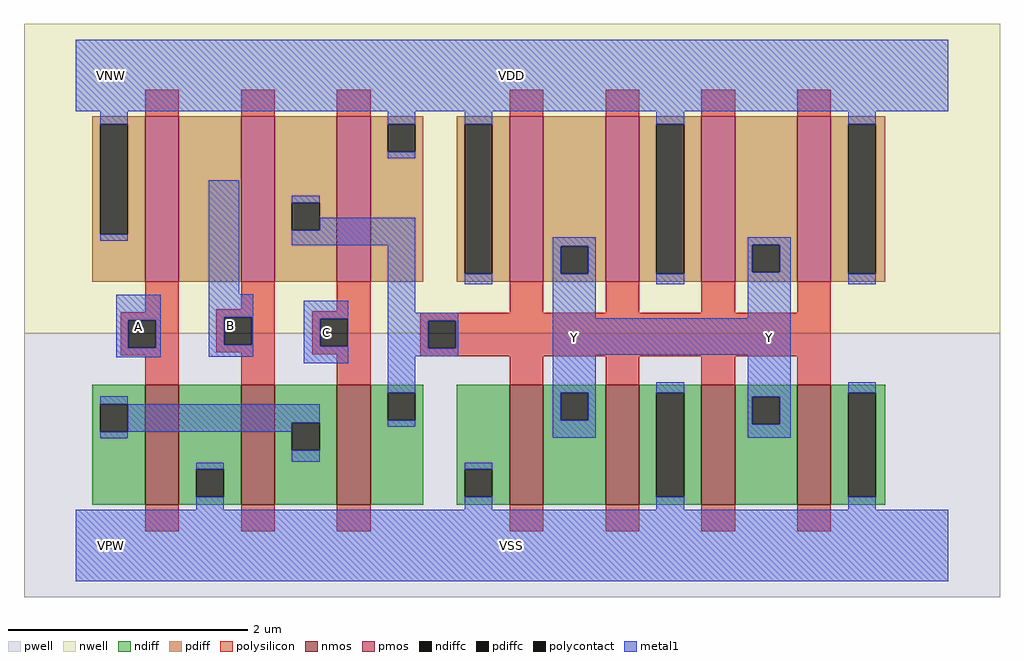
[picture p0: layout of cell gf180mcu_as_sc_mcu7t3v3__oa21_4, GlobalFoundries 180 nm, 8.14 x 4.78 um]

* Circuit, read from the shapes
.subckt gf180mcu_as_sc_mcu7t3v3__oa21_4 VDD VNW VPW VSS A B C Y
XM1 VSS A n1 VPW nfet_03v3 w=1u l=0.28u
XM2 n1 B VSS VPW nfet_03v3 w=1u l=0.28u
XM3 n2 C n1 VPW nfet_03v3 w=1u l=0.28u
XM4 Y n2 VSS VPW nfet_03v3 w=1u l=0.28u m=4
XM5 n3 A VDD VNW pfet_03v3 w=1.38u l=0.28u
XM6 n2 B n3 VNW pfet_03v3 w=1.38u l=0.28u
XM7 VDD C n2 VNW pfet_03v3 w=1.38u l=0.28u
XM8 Y n2 VDD VNW pfet_03v3 w=1.38u l=0.28u m=4
.ends

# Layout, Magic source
magic
tech gf180mcuD
magscale 1 10
<< nwell >>
rect -86 354 1542 870
<< pwell >>
rect -86 -86 1542 354
<< nmos >>
rect 116 68 172 268
rect 276 68 332 268
rect 436 68 492 268
rect 724 68 780 268
rect 884 68 940 268
rect 1044 68 1100 268
rect 1204 68 1260 268
<< pmos >>
rect 116 440 172 716
rect 276 440 332 716
rect 436 440 492 716
rect 724 440 780 716
rect 884 440 940 716
rect 1044 440 1100 716
rect 1204 440 1260 716
<< ndiff >>
rect 28 236 116 268
rect 28 190 41 236
rect 87 190 116 236
rect 28 68 116 190
rect 172 127 276 268
rect 172 81 201 127
rect 247 81 276 127
rect 172 68 276 81
rect 332 205 436 268
rect 332 159 361 205
rect 407 159 436 205
rect 332 68 436 159
rect 492 255 580 268
rect 492 209 521 255
rect 567 209 580 255
rect 492 68 580 209
rect 636 127 724 268
rect 636 81 649 127
rect 695 81 724 127
rect 636 68 724 81
rect 780 255 884 268
rect 780 209 809 255
rect 855 209 884 255
rect 780 68 884 209
rect 940 255 1044 268
rect 940 81 969 255
rect 1015 81 1044 255
rect 940 68 1044 81
rect 1100 248 1204 268
rect 1100 202 1129 248
rect 1175 202 1204 248
rect 1100 68 1204 202
rect 1260 255 1351 268
rect 1260 81 1289 255
rect 1335 81 1351 255
rect 1260 68 1351 81
<< pdiff >>
rect 28 703 116 716
rect 28 519 41 703
rect 87 519 116 703
rect 28 440 116 519
rect 172 440 276 716
rect 332 572 436 716
rect 332 526 361 572
rect 407 526 436 572
rect 332 440 436 526
rect 492 703 580 716
rect 492 657 521 703
rect 567 657 580 703
rect 492 440 580 657
rect 636 703 724 716
rect 636 453 649 703
rect 695 453 724 703
rect 636 440 724 453
rect 780 499 884 716
rect 780 453 809 499
rect 855 453 884 499
rect 780 440 884 453
rect 940 703 1044 716
rect 940 453 969 703
rect 1015 453 1044 703
rect 940 440 1044 453
rect 1100 502 1204 716
rect 1100 456 1129 502
rect 1175 456 1204 502
rect 1100 440 1204 456
rect 1260 703 1351 716
rect 1260 453 1289 703
rect 1335 453 1351 703
rect 1260 440 1351 453
<< ndiffc >>
rect 41 190 87 236
rect 201 81 247 127
rect 361 159 407 205
rect 521 209 567 255
rect 649 81 695 127
rect 809 209 855 255
rect 969 81 1015 255
rect 1129 202 1175 248
rect 1289 81 1335 255
<< pdiffc >>
rect 41 519 87 703
rect 361 526 407 572
rect 521 657 567 703
rect 649 453 695 703
rect 809 453 855 499
rect 969 453 1015 703
rect 1129 456 1175 502
rect 1289 453 1335 703
<< polysilicon >>
rect 116 716 172 760
rect 276 716 332 760
rect 436 716 492 760
rect 724 716 780 760
rect 884 716 940 760
rect 1044 716 1100 760
rect 1204 716 1260 760
rect 116 389 172 440
rect 276 394 332 440
rect 75 376 172 389
rect 75 330 88 376
rect 134 330 172 376
rect 75 317 172 330
rect 235 381 332 394
rect 436 391 492 440
rect 235 335 248 381
rect 294 335 332 381
rect 235 322 332 335
rect 116 268 172 317
rect 276 268 332 322
rect 395 378 492 391
rect 724 388 780 440
rect 884 388 940 440
rect 1044 388 1100 440
rect 1204 388 1260 440
rect 395 332 408 378
rect 454 332 492 378
rect 395 319 492 332
rect 436 268 492 319
rect 575 375 1260 388
rect 575 329 588 375
rect 634 329 1260 375
rect 575 316 1260 329
rect 724 268 780 316
rect 884 268 940 316
rect 1044 268 1100 316
rect 1204 268 1260 316
rect 116 24 172 68
rect 276 24 332 68
rect 436 24 492 68
rect 724 24 780 68
rect 884 24 940 68
rect 1044 24 1100 68
rect 1204 24 1260 68
<< polycontact >>
rect 88 330 134 376
rect 248 335 294 381
rect 408 332 454 378
rect 588 329 634 375
<< metal1 >>
rect 0 724 1456 844
rect 41 703 87 724
rect 521 703 567 724
rect 521 646 567 657
rect 649 703 695 724
rect 41 508 87 519
rect 222 419 273 609
rect 361 572 407 583
rect 407 526 567 547
rect 361 501 567 526
rect 68 376 142 418
rect 68 330 88 376
rect 134 330 142 376
rect 68 314 142 330
rect 222 381 296 419
rect 222 335 248 381
rect 294 335 296 381
rect 222 315 296 335
rect 381 378 455 408
rect 381 332 408 378
rect 454 332 455 378
rect 381 304 455 332
rect 521 388 567 501
rect 969 703 1015 724
rect 649 436 695 453
rect 796 499 868 514
rect 796 453 809 499
rect 855 453 868 499
rect 521 375 638 388
rect 521 329 588 375
rect 634 329 638 375
rect 521 316 638 329
rect 796 379 868 453
rect 1289 703 1335 724
rect 969 436 1015 453
rect 1121 502 1193 514
rect 1121 456 1129 502
rect 1175 456 1193 502
rect 1121 379 1193 456
rect 1289 436 1335 453
rect 796 318 1193 379
rect 521 255 567 316
rect 41 236 87 249
rect 87 205 407 236
rect 87 190 361 205
rect 41 179 87 190
rect 521 198 567 209
rect 796 255 868 318
rect 796 209 809 255
rect 855 209 868 255
rect 796 180 868 209
rect 969 255 1015 272
rect 361 140 407 159
rect 201 127 247 138
rect 201 60 247 81
rect 649 127 695 138
rect 649 60 695 81
rect 1121 248 1193 318
rect 1121 202 1129 248
rect 1175 202 1193 248
rect 1121 180 1193 202
rect 1289 255 1335 272
rect 969 60 1015 81
rect 1289 60 1335 81
rect 0 -60 1456 60
<< labels >>
flabel metal1 s 0 724 1456 844 0 FreeSans 400 0 0 0 VDD
port 1 nsew power bidirectional abutment
flabel metal1 s 0 -60 1456 60 0 FreeSans 400 0 0 0 VSS
port 4 nsew ground bidirectional abutment
flabel nwell s 10 734 110 834 0 FreeSans 400 0 0 0 VNW
port 2 nsew power bidirectional
flabel pwell s 10 -50 110 50 0 FreeSans 400 0 0 0 VPW
port 3 nsew ground bidirectional
flabel metal1 68 314 142 418 0 FreeSans 200 0 0 0 A
port 5 nsew signal input
flabel metal1 222 315 296 419 0 FreeSans 200 0 0 0 B
port 6 nsew signal input
flabel metal1 381 304 455 408 0 FreeSans 200 0 0 0 C
port 7 nsew signal input
flabel metal1 796 180 868 514 0 FreeSans 200 0 0 0 Y
port 8 nsew signal output
flabel metal1 1121 180 1193 514 0 FreeSans 200 0 0 0 Y
port 8 nsew signal output
<< properties >>
string FIXED_BBOX 0 0 1456 784
string LEFclass CORE
string LEFsite unithd
string LEFsymmetry X Y
string MASKHINTS_NPLUS -16 -46 1472 354
string MASKHINTS_PPLUS -16 354 1472 830
<< end >>
